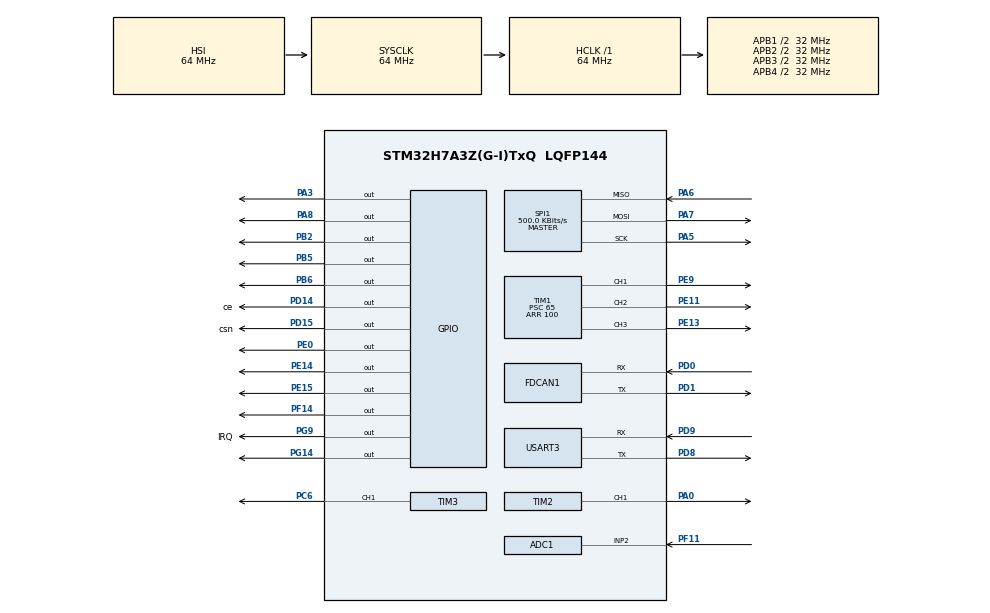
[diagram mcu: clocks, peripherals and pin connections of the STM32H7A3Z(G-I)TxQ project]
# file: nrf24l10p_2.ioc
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ADC1.Channel-1\#ChannelRegularConversion=ADC_CHANNEL_2
ADC1.NbrOfConversionFlag=1
ADC1.OffsetNumber-1\#ChannelRegularConversion=ADC_OFFSET_NONE
ADC1.OffsetSignedSaturation-1\#ChannelRegularConversion=DISABLE
ADC1.Rank-1\#ChannelRegularConversion=1
ADC1.SamplingTime-1\#ChannelRegularConversion=ADC_SAMPLETIME_1CYCLE_5
ADC1.master=1
FDCAN1.AutoRetransmission=ENABLE
FDCAN1.DataSyncJumpWidth=4
FDCAN1.DataTimeSeg1=5
FDCAN1.DataTimeSeg2=4
FDCAN1.FrameFormat=FDCAN_FRAME_FD_NO_BRS
FDCAN1.NominalTimeSeg1=5
FDCAN1.RxBuffersNbr=1
FDCAN1.RxFifo0ElmtsNbr=1
FDCAN1.StdFiltersNbr=1
Mcu.Family=STM32H7
Mcu.Name=STM32H7A3Z(G-I)TxQ
Mcu.Package=LQFP144
NVIC.FDCAN1_IT0_IRQn=true\:0\:0\:false\:false\:true\:true\:true
NVIC.PriorityGroup=NVIC_PRIORITYGROUP_4
NVIC.TIM2_IRQn=true\:0\:0\:false\:false\:true\:true\:true
PA0.Signal=S_TIM2_CH1_ETR
PA13.Mode=Serial_Wire
PA13.Signal=DEBUG_JTMS-SWDIO
PA14.Mode=Serial_Wire
PA14.Signal=DEBUG_JTCK-SWCLK
PA3.Signal=GPIO_Output
PA5.Mode=Full_Duplex_Master
PA5.Signal=SPI1_SCK
PA6.Mode=Full_Duplex_Master
PA6.Signal=SPI1_MISO
PA7.Mode=Full_Duplex_Master
PA7.Signal=SPI1_MOSI
PA8.Signal=GPIO_Output
PB2.Signal=GPIO_Output
PB5.Signal=GPIO_Output
PB6.Signal=GPIO_Output
PC6.Signal=S_TIM3_CH1
PD0.Mode=FDCAN_Activate
PD0.Signal=FDCAN1_RX
PD1.Mode=FDCAN_Activate
PD1.Signal=FDCAN1_TX
PD14.GPIO_Label=ce
PD14.GPIO_Speed=GPIO_SPEED_FREQ_LOW
PD14.Signal=GPIO_Output
PD15.GPIO_Label=csn
PD15.GPIO_Speed=GPIO_SPEED_FREQ_LOW
PD15.PinState=GPIO_PIN_RESET
PD15.Signal=GPIO_Output
PD8.Mode=Asynchronous
PD8.Signal=USART3_TX
PD9.Mode=Asynchronous
PD9.Signal=USART3_RX
PE0.Signal=GPIO_Output
PE11.Signal=S_TIM1_CH2
PE13.Signal=S_TIM1_CH3
PE14.Signal=GPIO_Output
PE15.Signal=GPIO_Output
PE9.Signal=S_TIM1_CH1
PF11.Mode=IN2-Single-Ended
PF11.Signal=ADC1_INP2
PF14.Signal=GPIO_Output
PG14.Signal=GPIO_Output
PG9.GPIO_Label=IRQ
PG9.Signal=GPIO_Output
PH0-OSC_IN.Mode=HSE-External-Oscillator
PH0-OSC_IN.Signal=RCC_OSC_IN
PH1-OSC_OUT.Mode=HSE-External-Oscillator
PH1-OSC_OUT.Signal=RCC_OSC_OUT
ProjectManager.HeapSize=0x200
ProjectManager.StackSize=0x400
ProjectManager.TargetToolchain=STM32CubeIDE
RCC.ADCFreq_Value=129000000
RCC.APB1Freq_Value=32000000
RCC.APB2Freq_Value=32000000
RCC.APB3Freq_Value=32000000
RCC.APB4Freq_Value=32000000
RCC.CDPPRE=RCC_APB3_DIV2
RCC.CDPPRE1=RCC_APB1_DIV2
RCC.CDPPRE2=RCC_APB2_DIV2
RCC.CortexFreq_Value=64000000
RCC.DIVM1=4
RCC.DIVN1=8
RCC.DIVQ1=32
RCC.HCLKFreq_Value=64000000
RCC.PLL2FRACN=0
RCC.PLL3FRACN=0
RCC.PLLFRACN=0
RCC.SRDPPRE=RCC_APB4_DIV2
RCC.SYSCLKFreq_VALUE=64000000
RCC.USBFreq_Value=4000000
SH.S_TIM1_CH1.0=TIM1_CH1,PWM Generation1 CH1
SH.S_TIM1_CH2.0=TIM1_CH2,PWM Generation2 CH2
SH.S_TIM1_CH3.0=TIM1_CH3,PWM Generation3 CH3
SH.S_TIM2_CH1_ETR.0=TIM2_CH1,PWM Generation1 CH1
SH.S_TIM3_CH1.0=TIM3_CH1,PWM Generation1 CH1
SPI1.BaudRatePrescaler=SPI_BAUDRATEPRESCALER_8
SPI1.CalculateBaudRate=500.0 KBits/s
SPI1.DataSize=SPI_DATASIZE_8BIT
SPI1.Direction=SPI_DIRECTION_2LINES
SPI1.Mode=SPI_MODE_MASTER
SPI1.VirtualType=VM_MASTER
TIM1.Channel-PWM\ Generation1\ CH1=TIM_CHANNEL_1
TIM1.Channel-PWM\ Generation2\ CH2=TIM_CHANNEL_2
TIM1.Channel-PWM\ Generation3\ CH3=TIM_CHANNEL_3
TIM1.Period=100
TIM1.Prescaler=65
TIM1.Pulse-PWM\ Generation1\ CH1=50
TIM1.Pulse-PWM\ Generation2\ CH2=50
TIM1.Pulse-PWM\ Generation3\ CH3=50
TIM2.Channel-PWM\ Generation1\ CH1=TIM_CHANNEL_1
TIM2.CounterMode=TIM_COUNTERMODE_DOWN
TIM2.Period=1000-1
TIM2.Prescaler=128-1
TIM3.Channel-PWM\ Generation1\ CH1=TIM_CHANNEL_1
TIM3.OCPolarity_1=TIM_OCPOLARITY_LOW
TIM3.Period=100
TIM3.Prescaler=64
TIM3.Pulse-PWM\ Generation1\ CH1=50
USART3.VirtualMode-Asynchronous=VM_ASYNC
VP_TIM1_VS_ClockSourceINT.Mode=Internal
VP_TIM2_VS_ClockSourceINT.Mode=Internal
VP_TIM3_VS_ClockSourceINT.Mode=Internal
board=custom

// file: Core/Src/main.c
/* USER CODE BEGIN Header */
/**
  ******************************************************************************
  * @file           : main.c
  * @brief          : Main program body
  ******************************************************************************
  * @attention
  *
  * Copyright (c) 2023 STMicroelectronics.
  * All rights reserved.
  *
  * This software is licensed under terms that can be found in the LICENSE file
  * in the root directory of this software component.
  * If no LICENSE file comes with this software, it is provided AS-IS.
  *
  ******************************************************************************
  */
/* USER CODE END Header */
#include "main.h"

/* USER CODE BEGIN Includes */
#include "NRF24L01.h"
#include "string.h"
#include <stdio.h>
#include <stdlib.h>
#include <locale.h>
#include "stm32h7xx_hal.h"
//#define ALLOWED_POSITION_OFFSET 5
//#define MAX_UTF16_CHAR_SIZE 2
/* USER CODE END Includes */

/* USER CODE BEGIN PTD */
uint16_t adc1,adc2;

/* USER CODE END PTD */

/* USER CODE BEGIN PD */
//#define TRIG_PIN GPIO_PIN_15
//#define TRIG_PORT GPIOE
/* USER CODE END PD */

ADC_HandleTypeDef hadc1;

FDCAN_HandleTypeDef hfdcan1;

SPI_HandleTypeDef hspi1;

TIM_HandleTypeDef htim1;
TIM_HandleTypeDef htim2;
TIM_HandleTypeDef htim3;

UART_HandleTypeDef huart3;

/* USER CODE BEGIN PV */
#ifdef __GNUC__
  /* With GCC, small printf (option LD Linker->Libraries->Small printf
     set to 'Yes') calls __io_putchar() */
  #define PUTCHAR_PROTOTYPE int __io_putchar(int ch)
#else
  #define PUTCHAR_PROTOTYPE int fputc(int ch, FILE *f)
#endif /* __GNUC__ */
PUTCHAR_PROTOTYPE
{
  /* Place your implementation of fputc here */
  /* e.g. write a character to the EVAL_COM1 and Loop until the end of transmission */
  HAL_UART_Transmit(&huart3, (uint8_t *)&ch, 1, 0xFFFF);
  return ch;
}
int _write(int file, unsigned char * p, int len)
{
HAL_UART_Transmit(&huart3, p, len, 10);
return len;
}
/////////////choumpa/////

/*uint32_t IC_Val1 = 0;
uint32_t IC_Val2 = 0;
uint32_t Difference = 0;
uint8_t Is_First_Captured = 0;  // is the first value captured ?
uint8_t Distance  = 0;
*/
enum notes {
  C = 956,
  D = 852,
  E = 758,
  F = 716,
  G = 638
};
/* USER CODE END PV */

void SystemClock_Config(void);
static void MX_GPIO_Init(void);
static void MX_SPI1_Init(void);
static void MX_USART3_UART_Init(void);
static void MX_TIM1_Init(void);
static void MX_FDCAN1_Init(void);
static void MX_TIM2_Init(void);
static void MX_ADC1_Init(void);
static void MX_TIM3_Init(void);
/* USER CODE BEGIN PFP */
//void delay (uint16_t time)
//{
//	__HAL_TIM_SET_COUNTER(&htim2, 0);
//	while (__HAL_TIM_GET_COUNTER (&htim2) < time);
//}

/* USER CODE END PFP */

/* USER CODE BEGIN 0 */
uint8_t RxAddress[] = {0x00,0xDD,0xCC,0xBB,0xAA};
uint8_t RxData[32];
uint8_t data[50];

FDCAN_FilterTypeDef sFilterConfig;
FDCAN_FilterTypeDef sFilterConfig1;
FDCAN_FilterTypeDef sFilterConfig2;
FDCAN_RxHeaderTypeDef RxHeader;
FDCAN_TxHeaderTypeDef TxHeader;
uint8_t TxData_Node3_To_Node1[16];
uint8_t TxData_Node3_To_Node3[16];
uint8_t RxData_From_Node3[16];
uint8_t RxData_From_Node1[16];
uint8_t RxData_From_Node4[8];

void HAL_FDCAN_RxFifo0Callback(FDCAN_HandleTypeDef *hfdcan, uint32_t RxFifo0ITs)
{
   if(FDCAN1 == hfdcan->Instance)
   {
	  if((RxFifo0ITs & FDCAN_IT_RX_FIFO0_NEW_MESSAGE) != RESET)
	  {

		if (HAL_FDCAN_GetRxMessage(hfdcan, FDCAN_RX_FIFO0, &RxHeader, RxData_From_Node3) != HAL_OK)
		{
		Error_Handler();
		}

	  }
   }

 }//choumpa jodo
void HAL_FDCAN_RxFifo1Callback(FDCAN_HandleTypeDef *hfdcan, uint32_t RxFifo1ITs)
{
   if(FDCAN1 == hfdcan->Instance)
   {
	  if((RxFifo1ITs & FDCAN_IT_RX_FIFO1_NEW_MESSAGE) != RESET)
	  {
		if (HAL_FDCAN_GetRxMessage(hfdcan, FDCAN_RX_FIFO1, &RxHeader, RxData_From_Node1) != HAL_OK)
		{
		Error_Handler();
		}

	  }
   }
 }//rider
void HAL_FDCAN_RxBufferNewMessageCallback(FDCAN_HandleTypeDef *hfdcan)
{

    if (FDCAN1 == hfdcan->Instance)
    {
        if (HAL_FDCAN_GetRxMessage(hfdcan, FDCAN_RX_BUFFER0, &RxHeader, RxData_From_Node4) != HAL_OK)
        {
            Error_Handler();
        }
    }

}//raspi

/* USER CODE END 0 */

int main(void)
{
  /* USER CODE BEGIN 1 */
//	  HAL_StatusTypeDef HAL_ADC_Start(ADC_HandleTypeDef* hadc);
//	  HAL_StatusTypeDef HAL_ADC_PollForConversion(ADC_HandleTypeDef* hadc, uint32_t Timeout);
////jodo///
  /* USER CODE END 1 */

  /* MCU Configuration--------------------------------------------------------*/

  /* Reset of all peripherals, Initializes the Flash interface and the Systick. */
  HAL_Init();

  /* Configure the system clock */
  SystemClock_Config();

  /* Initialize all configured peripherals */
  MX_GPIO_Init();
  MX_SPI1_Init();
  MX_USART3_UART_Init();
  MX_TIM1_Init();
  MX_FDCAN1_Init();
  MX_TIM2_Init();
  MX_ADC1_Init();
  MX_TIM3_Init();
  /* USER CODE BEGIN 2 */
//////////////nrf///////////
  NRF24_Init();
  NRF24_RxMode(RxAddress, 10);//nrf rx
  NRF24_ReadAll(data);//nrf rx
////////////////////////////

////////////motor///////////
  HAL_TIM_PWM_Start(&htim1, TIM_CHANNEL_1);//motor back1
  HAL_TIM_PWM_Start(&htim1, TIM_CHANNEL_2);//motor back2
  HAL_TIM_PWM_Start(&htim1, TIM_CHANNEL_3);//motor front
  HAL_GPIO_WritePin(GPIOF, GPIO_PIN_14,1);//motor enable1
  HAL_GPIO_WritePin(GPIOA, GPIO_PIN_8, 1);//motor enable2
////////////////////////////

///////////jodo///////////
    HAL_TIM_PWM_Start(&htim3, TIM_CHANNEL_1);//led jodo
//////////jodo////////////

//////////////buzzer/////////
  HAL_TIM_PWM_Start(&htim2, TIM_CHANNEL_1);
  ////////////////////////
  int a[14];
  int b[2];
//nrf고치기 ,라즈베리 받을때 nrf안받도록 수정 하기 라즈베리 r,l일때 nrf쪽 따로돌게 수정
  /* USER CODE END 2 */

  /* Infinite loop */
  while (1)
  {

    /* USER CODE BEGIN 3 */

	  for(int i=0;i<11;i++)
	  {a[i]=RxData_From_Node3[i]-'0';}

	  for(int j=0;j<3;j++)
	  {b[j]=RxData_From_Node1[j]-'0';}

	  int Distance1 = 100* a[1]  +10*a[2] +a[3];
	  int Distance2 = 100* a[4]  +10*a[5] +a[6];
	  int Distance3 = 100* a[8]  +10*a[9] +a[10];
	  int Distance4 = 100* b[0]  +10*b[1] +b[2];//rider

	  printf("    %d %d %d   ",b[0],b[1],b[2]);

///////////////////////////////

///////////////nrf//////////////
	  if (isDataAvailable(2) == 1)
	  	 {
		  NRF24_Receive(RxData);
	  	 }

///////////////////////////////////

//////////////////////buzzer/////////////////
//for (int i=0;i<5;i++){
//	  TIM2->ARR = C;
//	  TIM2->CCR1 = TIM2->ARR/2 ;
//	  HAL_Delay(500);
//	  TIM2->CCR1 = 0;
//	  HAL_Delay(100);
//	  }

	  if(Distance1<=15)
	 	  {
	 	  TIM2->ARR = C;
	 	  TIM2->CCR1 = TIM2->ARR / 2;
	 	  HAL_Delay(50);
	 	  TIM2->CCR1 = 0;
	 	  HAL_Delay(50);
	 	  }

	  if(Distance2<=15)
	 	  {
	 	  TIM2->ARR = C;
	 	  TIM2->CCR1 = TIM2->ARR / 2;
	 	  HAL_Delay(50);
	 	  TIM2->CCR1 = 0;
	 	  HAL_Delay(50);
	 	  }

	  if(Distance3<=15)
	 	  {
	 	  TIM2->ARR = C;
	 	  TIM2->CCR1 = TIM2->ARR / 2;
	 	  HAL_Delay(50);
	 	  TIM2->CCR1 = 0;
	 	  HAL_Delay(50);
	 	  }

 /////////////jodo///////////////

 for(int l=12;l<=14;l++)
 {a[l]=RxData_From_Node3[l]-'0';}
 int jodo = 100* a[12]  +10*a[13] +a[14];
      htim3.Instance->CCR1=jodo;
      if (jodo<45)
      {
    	  htim3.Instance->CCR1=0;
      }

      ////////////////////////////////////

///////////////////////////////////////////////

///////////////go and back (switch)/////////////////

//	  if(RxData[2]==0)
//		  {
//		  HAL_GPIO_WritePin(GPIOE, GPIO_PIN_14, 0);
//		  HAL_GPIO_WritePin(GPIOA, GPIO_PIN_3,0);
//		  htim1.Instance->CCR1=RxData[0];
//		  htim1.Instance->CCR2=RxData[0];
//		  if(RxData[0]>=100)
//		  	  {
//		  		  htim1.Instance->CCR1=99;
//		  		  htim1.Instance->CCR2=99;
//		  	  }
//		  }
//	  if(RxData[2]==1)
//		  {
//		  HAL_GPIO_WritePin(GPIOE, GPIO_PIN_14, 1);
//		  HAL_GPIO_WritePin(GPIOA, GPIO_PIN_3,1);
//		  htim1.Instance->CCR1=RxData[0];
//		  htim1.Instance->CCR2=RxData[0];
//		  if(RxData[0]>=100)
//		  	  {
//		  		  htim1.Instance->CCR1=99;
//		  		  htim1.Instance->CCR2=99;
//		  	  }
//		  }

/////////////////////////////////////////////////////

///////////////////////nrf networking and direction//////////////////

	if(RxData[3]==0)
	{

			  if (RxData[1]  <=40)
				  {

					  while (RxData[1]  <= 40)
					  {

						  if (isDataAvailable(2) == 1)
						  {
							  NRF24_Receive(RxData);
						  }

						  htim1.Instance->CCR3 = 80;
						  HAL_GPIO_WritePin(GPIOG, GPIO_PIN_14, 0);
						  HAL_Delay(100);
						  if(RxData[2]==0)
							  {
							  HAL_GPIO_WritePin(GPIOE, GPIO_PIN_14, 0);
							  HAL_GPIO_WritePin(GPIOA, GPIO_PIN_3,0);
							  htim1.Instance->CCR1=RxData[0];
							  htim1.Instance->CCR2=RxData[0];
							  if(RxData[0]>=100)
								  {
									  htim1.Instance->CCR1=99;
									  htim1.Instance->CCR2=99;
								  }
							  }
						  if(RxData[2]==1)
							  {
							  HAL_GPIO_WritePin(GPIOE, GPIO_PIN_14, 1);
							  HAL_GPIO_WritePin(GPIOA, GPIO_PIN_3,1);
							  htim1.Instance->CCR1=RxData[0];
							  htim1.Instance->CCR2=RxData[0];
							  if(RxData[0]>=100)
								  {
									  htim1.Instance->CCR1=99;
									  htim1.Instance->CCR2=99;
								  }
							  }

						  if(41<=RxData[1]&&RxData[1]<=80)
						  {
							  htim1.Instance->CCR3 = 90;
							  HAL_GPIO_WritePin(GPIOG, GPIO_PIN_14, 1);
							  HAL_Delay(200);
							  htim1.Instance->CCR3 = 0;
						  }

					  }

				  }

			  if (RxData[1] > 85)
					  {

						  while (RxData[1] > 85)
						  {

							  if (isDataAvailable(2) == 1)
							  {
								  NRF24_Receive(RxData);
							  }
							  htim1.Instance->CCR3 = 80;
							  HAL_GPIO_WritePin(GPIOG, GPIO_PIN_14, 1);
							  HAL_Delay(100);
							  if(RxData[2]==0)
								  {
								  HAL_GPIO_WritePin(GPIOE, GPIO_PIN_14, 0);
								  HAL_GPIO_WritePin(GPIOA, GPIO_PIN_3,0);
								  htim1.Instance->CCR1=RxData[0];
								  htim1.Instance->CCR2=RxData[0];
								  if(RxData[0]>=100)
									  {
										  htim1.Instance->CCR1=99;
										  htim1.Instance->CCR2=99;
									  }
								  }
							  if(RxData[2]==1)
								  {
								  HAL_GPIO_WritePin(GPIOE, GPIO_PIN_14, 1);
								  HAL_GPIO_WritePin(GPIOA, GPIO_PIN_3,1);
								  htim1.Instance->CCR1=RxData[0];
								  htim1.Instance->CCR2=RxData[0];
								  if(RxData[0]>=100)
									  {
										  htim1.Instance->CCR1=99;
										  htim1.Instance->CCR2=99;
									  }
								  }

							  if(41<=RxData[1]&&RxData[1]<=85)
							  {
								  htim1.Instance->CCR3 = 90;
								  HAL_GPIO_WritePin(GPIOG, GPIO_PIN_14, 0);
								  HAL_Delay(200);
								  htim1.Instance->CCR3 = 0;
							  }
						  }
					  }

	  }
////////////////////////////////////////////////////////////

///////////////go and back /////////////////

						if(RxData[2]==0)
							  {
							  HAL_GPIO_WritePin(GPIOE, GPIO_PIN_14, 0);
							  HAL_GPIO_WritePin(GPIOA, GPIO_PIN_3,0);
							  htim1.Instance->CCR1=RxData[0];
							  htim1.Instance->CCR2=RxData[0];
							  if(RxData[0]>=100)
								  {
									  htim1.Instance->CCR1=99;
									  htim1.Instance->CCR2=99;
								  }
							  //////////////ridar///////////////
							  	  if(Distance4<=20)
							  	  {
							  		  htim1.Instance->CCR1=0;
							  		  htim1.Instance->CCR2=0;
							  	  }

							  }
						  if(RxData[2]==1)
							  {
							  HAL_GPIO_WritePin(GPIOE, GPIO_PIN_14, 1);
							  HAL_GPIO_WritePin(GPIOA, GPIO_PIN_3,1);
							  htim1.Instance->CCR1=RxData[0];
							  htim1.Instance->CCR2=RxData[0];
							  if(RxData[0]>=100)
								  {
									  htim1.Instance->CCR1=99;
									  htim1.Instance->CCR2=99;
								  }
							  //////////////ridar///////////////
							  	  if(Distance4<=20)
							  	  {
							  		  htim1.Instance->CCR1=0;
							  		  htim1.Instance->CCR2=0;
							  	  }

							  }

////////////////////////////////////////////////////

/////////////////can fd raspi and direction ////////////////////
		  	  if(RxData[3]==1)
		  	  {

		  		  if (RxData_From_Node4[0]=='L')
		  				  {
		  					  while (RxData_From_Node4[0]=='L')
		  					  {

		  						  // left motor
		  						  htim1.Instance->CCR3 = 90;
		  						  HAL_GPIO_WritePin(GPIOG, GPIO_PIN_14, 0);
		  						  HAL_Delay(100);

		  						  // straight
		  						  if(RxData_From_Node4[0]=='G')
		  						  {
		  							  htim1.Instance->CCR3 = 90;
		  							  HAL_GPIO_WritePin(GPIOG, GPIO_PIN_14, 1);
		  							  HAL_Delay(200);
		  							  htim1.Instance->CCR3 = 0;
		  						  }
		  						  if (40<=RxData[1]&&RxData[1]<=80)
		  						  {
		  							  break;
		  						  }

		  					  }

		  				  }

		  			  if (RxData_From_Node4[0]=='R')
		  					  {

		  						  while (RxData_From_Node4[0]=='R')
		  						  {

		  							  // right motor
		  							  htim1.Instance->CCR3 = 90;
		  							  HAL_GPIO_WritePin(GPIOG, GPIO_PIN_14, 1);
		  							  HAL_Delay(100);

		  							  if(RxData_From_Node4[0]=='G')
		  							  {
		  								  htim1.Instance->CCR3 = 90;
		  								  HAL_GPIO_WritePin(GPIOG, GPIO_PIN_14, 0);
		  								  HAL_Delay(200);
		  								  htim1.Instance->CCR3 = 0;
		  							  }
		  							  if (40<=RxData[1]&&RxData[1]<=80)
		  							  {
		  								  break;
		  							  }

		  						  }

		  					  }

		  	  }
///////////////////////////////////////////////////////////////////

	}

  /* USER CODE END 3 */
}

void SystemClock_Config(void)
{
  RCC_OscInitTypeDef RCC_OscInitStruct = {0};
  RCC_ClkInitTypeDef RCC_ClkInitStruct = {0};

  /** Supply configuration update enable
  */
  HAL_PWREx_ConfigSupply(PWR_DIRECT_SMPS_SUPPLY);
  /** Configure the main internal regulator output voltage
  */
  __HAL_PWR_VOLTAGESCALING_CONFIG(PWR_REGULATOR_VOLTAGE_SCALE3);

  while(!__HAL_PWR_GET_FLAG(PWR_FLAG_VOSRDY)) {}
  /** Macro to configure the PLL clock source
  */
  __HAL_RCC_PLL_PLLSOURCE_CONFIG(RCC_PLLSOURCE_HSI);
  /** Initializes the RCC Oscillators according to the specified parameters
  * in the RCC_OscInitTypeDef structure.
  */
  RCC_OscInitStruct.OscillatorType = RCC_OSCILLATORTYPE_HSI;
  RCC_OscInitStruct.HSIState = RCC_HSI_DIV1;
  RCC_OscInitStruct.HSICalibrationValue = RCC_HSICALIBRATION_DEFAULT;
  RCC_OscInitStruct.PLL.PLLState = RCC_PLL_ON;
  RCC_OscInitStruct.PLL.PLLSource = RCC_PLLSOURCE_HSI;
  RCC_OscInitStruct.PLL.PLLM = 4;
  RCC_OscInitStruct.PLL.PLLN = 8;
  RCC_OscInitStruct.PLL.PLLP = 2;
  RCC_OscInitStruct.PLL.PLLQ = 32;
  RCC_OscInitStruct.PLL.PLLR = 2;
  RCC_OscInitStruct.PLL.PLLRGE = RCC_PLL1VCIRANGE_3;
  RCC_OscInitStruct.PLL.PLLVCOSEL = RCC_PLL1VCOWIDE;
  RCC_OscInitStruct.PLL.PLLFRACN = 0;
  if (HAL_RCC_OscConfig(&RCC_OscInitStruct) != HAL_OK)
  {
    Error_Handler();
  }
  /** Initializes the CPU, AHB and APB buses clocks
  */
  RCC_ClkInitStruct.ClockType = RCC_CLOCKTYPE_HCLK|RCC_CLOCKTYPE_SYSCLK
                              |RCC_CLOCKTYPE_PCLK1|RCC_CLOCKTYPE_PCLK2
                              |RCC_CLOCKTYPE_D3PCLK1|RCC_CLOCKTYPE_D1PCLK1;
  RCC_ClkInitStruct.SYSCLKSource = RCC_SYSCLKSOURCE_HSI;
  RCC_ClkInitStruct.SYSCLKDivider = RCC_SYSCLK_DIV1;
  RCC_ClkInitStruct.AHBCLKDivider = RCC_HCLK_DIV1;
  RCC_ClkInitStruct.APB3CLKDivider = RCC_APB3_DIV2;
  RCC_ClkInitStruct.APB1CLKDivider = RCC_APB1_DIV2;
  RCC_ClkInitStruct.APB2CLKDivider = RCC_APB2_DIV2;
  RCC_ClkInitStruct.APB4CLKDivider = RCC_APB4_DIV2;

  if (HAL_RCC_ClockConfig(&RCC_ClkInitStruct, FLASH_LATENCY_2) != HAL_OK)
  {
    Error_Handler();
  }
}

static void MX_ADC1_Init(void)
{

  ADC_MultiModeTypeDef multimode = {0};
  ADC_ChannelConfTypeDef sConfig = {0};

  /** Common config
  */
  hadc1.Instance = ADC1;
  hadc1.Init.ClockPrescaler = ADC_CLOCK_ASYNC_DIV1;
  hadc1.Init.Resolution = ADC_RESOLUTION_16B;
  hadc1.Init.ScanConvMode = ADC_SCAN_DISABLE;
  hadc1.Init.EOCSelection = ADC_EOC_SINGLE_CONV;
  hadc1.Init.LowPowerAutoWait = DISABLE;
  hadc1.Init.ContinuousConvMode = DISABLE;
  hadc1.Init.NbrOfConversion = 1;
  hadc1.Init.DiscontinuousConvMode = DISABLE;
  hadc1.Init.ExternalTrigConv = ADC_SOFTWARE_START;
  hadc1.Init.ExternalTrigConvEdge = ADC_EXTERNALTRIGCONVEDGE_NONE;
  hadc1.Init.ConversionDataManagement = ADC_CONVERSIONDATA_DR;
  hadc1.Init.Overrun = ADC_OVR_DATA_PRESERVED;
  hadc1.Init.LeftBitShift = ADC_LEFTBITSHIFT_NONE;
  hadc1.Init.OversamplingMode = DISABLE;
  if (HAL_ADC_Init(&hadc1) != HAL_OK)
  {
    Error_Handler();
  }
  /** Configure the ADC multi-mode
  */
  multimode.Mode = ADC_MODE_INDEPENDENT;
  if (HAL_ADCEx_MultiModeConfigChannel(&hadc1, &multimode) != HAL_OK)
  {
    Error_Handler();
  }
  /** Configure Regular Channel
  */
  sConfig.Channel = ADC_CHANNEL_2;
  sConfig.Rank = ADC_REGULAR_RANK_1;
  sConfig.SamplingTime = ADC_SAMPLETIME_1CYCLE_5;
  sConfig.SingleDiff = ADC_SINGLE_ENDED;
  sConfig.OffsetNumber = ADC_OFFSET_NONE;
  sConfig.Offset = 0;
  sConfig.OffsetSignedSaturation = DISABLE;
  if (HAL_ADC_ConfigChannel(&hadc1, &sConfig) != HAL_OK)
  {
    Error_Handler();
  }

}

static void MX_FDCAN1_Init(void)
{

  hfdcan1.Instance = FDCAN1;
  hfdcan1.Init.FrameFormat = FDCAN_FRAME_FD_NO_BRS;
  hfdcan1.Init.Mode = FDCAN_MODE_NORMAL;
  hfdcan1.Init.AutoRetransmission = ENABLE;
  hfdcan1.Init.TransmitPause = DISABLE;
  hfdcan1.Init.ProtocolException = DISABLE;
  hfdcan1.Init.NominalPrescaler = 1;
  hfdcan1.Init.NominalSyncJumpWidth = 1;
  hfdcan1.Init.NominalTimeSeg1 = 5;
  hfdcan1.Init.NominalTimeSeg2 = 2;
  hfdcan1.Init.DataPrescaler = 1;
  hfdcan1.Init.DataSyncJumpWidth = 4;
  hfdcan1.Init.DataTimeSeg1 = 5;
  hfdcan1.Init.DataTimeSeg2 = 4;
  hfdcan1.Init.MessageRAMOffset = 0;
  hfdcan1.Init.StdFiltersNbr = 3;
  hfdcan1.Init.ExtFiltersNbr = 0;
  hfdcan1.Init.RxFifo0ElmtsNbr = 1;
  hfdcan1.Init.RxFifo0ElmtSize = FDCAN_DATA_BYTES_16;
  hfdcan1.Init.RxFifo1ElmtsNbr = 1;
  hfdcan1.Init.RxFifo1ElmtSize = FDCAN_DATA_BYTES_16;
  hfdcan1.Init.RxBuffersNbr = 1;
  hfdcan1.Init.RxBufferSize = FDCAN_DATA_BYTES_16;
  hfdcan1.Init.TxEventsNbr = 0;
  hfdcan1.Init.TxBuffersNbr = 0;
  hfdcan1.Init.TxFifoQueueElmtsNbr = 0;
  hfdcan1.Init.TxFifoQueueMode = FDCAN_TX_FIFO_OPERATION;
  hfdcan1.Init.TxElmtSize = FDCAN_DATA_BYTES_16;
  if (HAL_FDCAN_Init(&hfdcan1) != HAL_OK)
  {
    Error_Handler();
  }
  /* USER CODE BEGIN FDCAN1_Init 2 */
  	  	sFilterConfig.IdType = FDCAN_STANDARD_ID;
        sFilterConfig.FilterIndex = 1;
        sFilterConfig.RxBufferIndex = 1;
        sFilterConfig.FilterType = FDCAN_FILTER_DUAL; // Ignore because FDCAN_FILTER_TO_RXBUFFE
        sFilterConfig.FilterConfig = FDCAN_FILTER_TO_RXFIFO0;
        sFilterConfig.FilterID1 = 0x33; // ID Node2
        sFilterConfig.FilterID2 = 0x7ff; // Ignore because FDCAN_FILTER_TO_RXBUFFER
        if(HAL_FDCAN_ConfigFilter(&hfdcan1, &sFilterConfig) != HAL_OK)
               {
                  Error_Handler();
               }
//
  	  	sFilterConfig1.IdType = FDCAN_STANDARD_ID;
        sFilterConfig1.FilterIndex = 2;
        sFilterConfig1.RxBufferIndex = 2;
        sFilterConfig1.FilterType = FDCAN_FILTER_DUAL; // Ignore because FDCAN_FILTER_TO_RXBUFFE
        sFilterConfig1.FilterConfig = FDCAN_FILTER_TO_RXFIFO1;
        sFilterConfig1.FilterID1 = 0x11; // ID Node2
        sFilterConfig1.FilterID2 = 0x7ff; // Ignore because FDCAN_FILTER_TO_RXBUFFER
//
        if(HAL_FDCAN_ConfigFilter(&hfdcan1, &sFilterConfig1) != HAL_OK)
        {
           Error_Handler();
        }
  	  	sFilterConfig2.IdType = FDCAN_STANDARD_ID;
        sFilterConfig2.FilterIndex = 0;
        sFilterConfig2.RxBufferIndex = 0;
        sFilterConfig2.FilterType = FDCAN_FILTER_DUAL; // Ignore because FDCAN_FILTER_TO_RXBUFFE
        sFilterConfig2.FilterConfig = FDCAN_FILTER_TO_RXBUFFER;
        sFilterConfig2.FilterID1 = 0x44; // ID Node2
        sFilterConfig2.FilterID2 = 0x7ff; // Ignore because FDCAN_FILTER_TO_RXBUFFER

        if(HAL_FDCAN_ConfigFilter(&hfdcan1, &sFilterConfig2) != HAL_OK)
               {
                  Error_Handler();
               }

        if(HAL_FDCAN_Start(&hfdcan1) != HAL_OK)
              {
                Error_Handler();
              }

        if (HAL_FDCAN_ActivateNotification(&hfdcan1, FDCAN_IT_RX_BUFFER_NEW_MESSAGE, 0) != HAL_OK)
          {
            /* Notification Error */
            Error_Handler();
          }
            if (HAL_FDCAN_ActivateNotification(&hfdcan1, FDCAN_IT_RX_FIFO0_NEW_MESSAGE, 0) != HAL_OK)
              {
                Error_Handler();
              }
            if (HAL_FDCAN_ActivateNotification(&hfdcan1, FDCAN_IT_RX_FIFO1_NEW_MESSAGE, 0) != HAL_OK)
              {
                Error_Handler();
              }

            TxHeader.Identifier = 0x22;
            TxHeader.IdType = FDCAN_STANDARD_ID;
            TxHeader.TxFrameType = FDCAN_DATA_FRAME;
            TxHeader.DataLength = FDCAN_DLC_BYTES_8;
            TxHeader.ErrorStateIndicator = FDCAN_ESI_ACTIVE;
            TxHeader.BitRateSwitch = FDCAN_BRS_OFF;
            TxHeader.FDFormat = FDCAN_FD_CAN;
            TxHeader.TxEventFifoControl = FDCAN_NO_TX_EVENTS;
            TxHeader.MessageMarker = 0x0;

  /* USER CODE END FDCAN1_Init 2 */

}

static void MX_SPI1_Init(void)
{

  /* SPI1 parameter configuration*/
  hspi1.Instance = SPI1;
  hspi1.Init.Mode = SPI_MODE_MASTER;
  hspi1.Init.Direction = SPI_DIRECTION_2LINES;
  hspi1.Init.DataSize = SPI_DATASIZE_8BIT;
  hspi1.Init.CLKPolarity = SPI_POLARITY_LOW;
  hspi1.Init.CLKPhase = SPI_PHASE_1EDGE;
  hspi1.Init.NSS = SPI_NSS_SOFT;
  hspi1.Init.BaudRatePrescaler = SPI_BAUDRATEPRESCALER_8;
  hspi1.Init.FirstBit = SPI_FIRSTBIT_MSB;
  hspi1.Init.TIMode = SPI_TIMODE_DISABLE;
  hspi1.Init.CRCCalculation = SPI_CRCCALCULATION_DISABLE;
  hspi1.Init.CRCPolynomial = 0x0;
  hspi1.Init.NSSPMode = SPI_NSS_PULSE_ENABLE;
  hspi1.Init.NSSPolarity = SPI_NSS_POLARITY_LOW;
  hspi1.Init.FifoThreshold = SPI_FIFO_THRESHOLD_01DATA;
  hspi1.Init.TxCRCInitializationPattern = SPI_CRC_INITIALIZATION_ALL_ZERO_PATTERN;
  hspi1.Init.RxCRCInitializationPattern = SPI_CRC_INITIALIZATION_ALL_ZERO_PATTERN;
  hspi1.Init.MasterSSIdleness = SPI_MASTER_SS_IDLENESS_00CYCLE;
  hspi1.Init.MasterInterDataIdleness = SPI_MASTER_INTERDATA_IDLENESS_00CYCLE;
  hspi1.Init.MasterReceiverAutoSusp = SPI_MASTER_RX_AUTOSUSP_DISABLE;
  hspi1.Init.MasterKeepIOState = SPI_MASTER_KEEP_IO_STATE_DISABLE;
  hspi1.Init.IOSwap = SPI_IO_SWAP_DISABLE;
  if (HAL_SPI_Init(&hspi1) != HAL_OK)
  {
    Error_Handler();
  }

}

static void MX_TIM1_Init(void)
{

  TIM_ClockConfigTypeDef sClockSourceConfig = {0};
  TIM_MasterConfigTypeDef sMasterConfig = {0};
  TIM_OC_InitTypeDef sConfigOC = {0};
  TIM_BreakDeadTimeConfigTypeDef sBreakDeadTimeConfig = {0};

  htim1.Instance = TIM1;
  htim1.Init.Prescaler = 65;
  htim1.Init.CounterMode = TIM_COUNTERMODE_UP;
  htim1.Init.Period = 100;
  htim1.Init.ClockDivision = TIM_CLOCKDIVISION_DIV1;
  htim1.Init.RepetitionCounter = 0;
  htim1.Init.AutoReloadPreload = TIM_AUTORELOAD_PRELOAD_DISABLE;
  if (HAL_TIM_Base_Init(&htim1) != HAL_OK)
  {
    Error_Handler();
  }
  sClockSourceConfig.ClockSource = TIM_CLOCKSOURCE_INTERNAL;
  if (HAL_TIM_ConfigClockSource(&htim1, &sClockSourceConfig) != HAL_OK)
  {
    Error_Handler();
  }
  if (HAL_TIM_PWM_Init(&htim1) != HAL_OK)
  {
    Error_Handler();
  }
  sMasterConfig.MasterOutputTrigger = TIM_TRGO_RESET;
  sMasterConfig.MasterOutputTrigger2 = TIM_TRGO2_RESET;
  sMasterConfig.MasterSlaveMode = TIM_MASTERSLAVEMODE_DISABLE;
  if (HAL_TIMEx_MasterConfigSynchronization(&htim1, &sMasterConfig) != HAL_OK)
  {
    Error_Handler();
  }
  sConfigOC.OCMode = TIM_OCMODE_PWM1;
  sConfigOC.Pulse = 50;
  sConfigOC.OCPolarity = TIM_OCPOLARITY_HIGH;
  sConfigOC.OCNPolarity = TIM_OCNPOLARITY_HIGH;
  sConfigOC.OCFastMode = TIM_OCFAST_DISABLE;
  sConfigOC.OCIdleState = TIM_OCIDLESTATE_RESET;
  sConfigOC.OCNIdleState = TIM_OCNIDLESTATE_RESET;
  if (HAL_TIM_PWM_ConfigChannel(&htim1, &sConfigOC, TIM_CHANNEL_1) != HAL_OK)
  {
    Error_Handler();
  }
  if (HAL_TIM_PWM_ConfigChannel(&htim1, &sConfigOC, TIM_CHANNEL_2) != HAL_OK)
  {
    Error_Handler();
  }
  if (HAL_TIM_PWM_ConfigChannel(&htim1, &sConfigOC, TIM_CHANNEL_3) != HAL_OK)
  {
    Error_Handler();
  }
  sBreakDeadTimeConfig.OffStateRunMode = TIM_OSSR_DISABLE;
  sBreakDeadTimeConfig.OffStateIDLEMode = TIM_OSSI_DISABLE;
  sBreakDeadTimeConfig.LockLevel = TIM_LOCKLEVEL_OFF;
  sBreakDeadTimeConfig.DeadTime = 0;
  sBreakDeadTimeConfig.BreakState = TIM_BREAK_DISABLE;
  sBreakDeadTimeConfig.BreakPolarity = TIM_BREAKPOLARITY_HIGH;
  sBreakDeadTimeConfig.BreakFilter = 0;
  sBreakDeadTimeConfig.Break2State = TIM_BREAK2_DISABLE;
  sBreakDeadTimeConfig.Break2Polarity = TIM_BREAK2POLARITY_HIGH;
  sBreakDeadTimeConfig.Break2Filter = 0;
  sBreakDeadTimeConfig.AutomaticOutput = TIM_AUTOMATICOUTPUT_DISABLE;
  if (HAL_TIMEx_ConfigBreakDeadTime(&htim1, &sBreakDeadTimeConfig) != HAL_OK)
  {
    Error_Handler();
  }
  HAL_TIM_MspPostInit(&htim1);

}

static void MX_TIM2_Init(void)
{

  TIM_ClockConfigTypeDef sClockSourceConfig = {0};
  TIM_MasterConfigTypeDef sMasterConfig = {0};
  TIM_OC_InitTypeDef sConfigOC = {0};

  htim2.Instance = TIM2;
  htim2.Init.Prescaler = 128-1;
  htim2.Init.CounterMode = TIM_COUNTERMODE_DOWN;
  htim2.Init.Period = 1000-1;
  htim2.Init.ClockDivision = TIM_CLOCKDIVISION_DIV1;
  htim2.Init.AutoReloadPreload = TIM_AUTORELOAD_PRELOAD_DISABLE;
  if (HAL_TIM_Base_Init(&htim2) != HAL_OK)
  {
    Error_Handler();
  }
  sClockSourceConfig.ClockSource = TIM_CLOCKSOURCE_INTERNAL;
  if (HAL_TIM_ConfigClockSource(&htim2, &sClockSourceConfig) != HAL_OK)
  {
    Error_Handler();
  }
  if (HAL_TIM_PWM_Init(&htim2) != HAL_OK)
  {
    Error_Handler();
  }
  sMasterConfig.MasterOutputTrigger = TIM_TRGO_RESET;
  sMasterConfig.MasterSlaveMode = TIM_MASTERSLAVEMODE_DISABLE;
  if (HAL_TIMEx_MasterConfigSynchronization(&htim2, &sMasterConfig) != HAL_OK)
  {
    Error_Handler();
  }
  sConfigOC.OCMode = TIM_OCMODE_PWM1;
  sConfigOC.Pulse = 0;
  sConfigOC.OCPolarity = TIM_OCPOLARITY_HIGH;
  sConfigOC.OCFastMode = TIM_OCFAST_DISABLE;
  if (HAL_TIM_PWM_ConfigChannel(&htim2, &sConfigOC, TIM_CHANNEL_1) != HAL_OK)
  {
    Error_Handler();
  }
  HAL_TIM_MspPostInit(&htim2);

}

static void MX_TIM3_Init(void)
{

  TIM_ClockConfigTypeDef sClockSourceConfig = {0};
  TIM_MasterConfigTypeDef sMasterConfig = {0};
  TIM_OC_InitTypeDef sConfigOC = {0};

  htim3.Instance = TIM3;
  htim3.Init.Prescaler = 64;
  htim3.Init.CounterMode = TIM_COUNTERMODE_UP;
  htim3.Init.Period = 100;
  htim3.Init.ClockDivision = TIM_CLOCKDIVISION_DIV1;
  htim3.Init.AutoReloadPreload = TIM_AUTORELOAD_PRELOAD_DISABLE;
  if (HAL_TIM_Base_Init(&htim3) != HAL_OK)
  {
    Error_Handler();
  }
  sClockSourceConfig.ClockSource = TIM_CLOCKSOURCE_INTERNAL;
  if (HAL_TIM_ConfigClockSource(&htim3, &sClockSourceConfig) != HAL_OK)
  {
    Error_Handler();
  }
  if (HAL_TIM_PWM_Init(&htim3) != HAL_OK)
  {
    Error_Handler();
  }
  sMasterConfig.MasterOutputTrigger = TIM_TRGO_RESET;
  sMasterConfig.MasterSlaveMode = TIM_MASTERSLAVEMODE_DISABLE;
  if (HAL_TIMEx_MasterConfigSynchronization(&htim3, &sMasterConfig) != HAL_OK)
  {
    Error_Handler();
  }
  sConfigOC.OCMode = TIM_OCMODE_PWM1;
  sConfigOC.Pulse = 50;
  sConfigOC.OCPolarity = TIM_OCPOLARITY_HIGH;
  sConfigOC.OCFastMode = TIM_OCFAST_DISABLE;
  if (HAL_TIM_PWM_ConfigChannel(&htim3, &sConfigOC, TIM_CHANNEL_1) != HAL_OK)
  {
    Error_Handler();
  }
  HAL_TIM_MspPostInit(&htim3);

}

static void MX_USART3_UART_Init(void)
{

  huart3.Instance = USART3;
  huart3.Init.BaudRate = 115200;
  huart3.Init.WordLength = UART_WORDLENGTH_8B;
  huart3.Init.StopBits = UART_STOPBITS_1;
  huart3.Init.Parity = UART_PARITY_NONE;
  huart3.Init.Mode = UART_MODE_TX_RX;
  huart3.Init.HwFlowCtl = UART_HWCONTROL_NONE;
  huart3.Init.OverSampling = UART_OVERSAMPLING_16;
  huart3.Init.OneBitSampling = UART_ONE_BIT_SAMPLE_DISABLE;
  huart3.Init.ClockPrescaler = UART_PRESCALER_DIV1;
  huart3.AdvancedInit.AdvFeatureInit = UART_ADVFEATURE_NO_INIT;
  if (HAL_UART_Init(&huart3) != HAL_OK)
  {
    Error_Handler();
  }
  if (HAL_UARTEx_SetTxFifoThreshold(&huart3, UART_TXFIFO_THRESHOLD_1_8) != HAL_OK)
  {
    Error_Handler();
  }
  if (HAL_UARTEx_SetRxFifoThreshold(&huart3, UART_RXFIFO_THRESHOLD_1_8) != HAL_OK)
  {
    Error_Handler();
  }
  if (HAL_UARTEx_DisableFifoMode(&huart3) != HAL_OK)
  {
    Error_Handler();
  }

}

static void MX_GPIO_Init(void)
{
  GPIO_InitTypeDef GPIO_InitStruct = {0};

  /* GPIO Ports Clock Enable */
  __HAL_RCC_GPIOH_CLK_ENABLE();
  __HAL_RCC_GPIOA_CLK_ENABLE();
  __HAL_RCC_GPIOB_CLK_ENABLE();
  __HAL_RCC_GPIOF_CLK_ENABLE();
  __HAL_RCC_GPIOE_CLK_ENABLE();
  __HAL_RCC_GPIOD_CLK_ENABLE();
  __HAL_RCC_GPIOC_CLK_ENABLE();
  __HAL_RCC_GPIOG_CLK_ENABLE();

  /*Configure GPIO pin Output Level */
  HAL_GPIO_WritePin(GPIOA, GPIO_PIN_3|GPIO_PIN_8, GPIO_PIN_RESET);

  /*Configure GPIO pin Output Level */
  HAL_GPIO_WritePin(GPIOB, GPIO_PIN_2|GPIO_PIN_5|GPIO_PIN_6, GPIO_PIN_RESET);

  /*Configure GPIO pin Output Level */
  HAL_GPIO_WritePin(GPIOF, GPIO_PIN_14, GPIO_PIN_RESET);

  /*Configure GPIO pin Output Level */
  HAL_GPIO_WritePin(GPIOE, GPIO_PIN_14|GPIO_PIN_15|GPIO_PIN_0, GPIO_PIN_RESET);

  /*Configure GPIO pin Output Level */
  HAL_GPIO_WritePin(GPIOD, ce_Pin|csn_Pin, GPIO_PIN_RESET);

  /*Configure GPIO pin Output Level */
  HAL_GPIO_WritePin(GPIOG, IRQ_Pin|GPIO_PIN_14, GPIO_PIN_RESET);

  /*Configure GPIO pins : PA3 PA8 */
  GPIO_InitStruct.Pin = GPIO_PIN_3|GPIO_PIN_8;
  GPIO_InitStruct.Mode = GPIO_MODE_OUTPUT_PP;
  GPIO_InitStruct.Pull = GPIO_NOPULL;
  GPIO_InitStruct.Speed = GPIO_SPEED_FREQ_LOW;
  HAL_GPIO_Init(GPIOA, &GPIO_InitStruct);

  /*Configure GPIO pins : PB2 PB5 PB6 */
  GPIO_InitStruct.Pin = GPIO_PIN_2|GPIO_PIN_5|GPIO_PIN_6;
  GPIO_InitStruct.Mode = GPIO_MODE_OUTPUT_PP;
  GPIO_InitStruct.Pull = GPIO_NOPULL;
  GPIO_InitStruct.Speed = GPIO_SPEED_FREQ_LOW;
  HAL_GPIO_Init(GPIOB, &GPIO_InitStruct);

  /*Configure GPIO pin : PF14 */
  GPIO_InitStruct.Pin = GPIO_PIN_14;
  GPIO_InitStruct.Mode = GPIO_MODE_OUTPUT_PP;
  GPIO_InitStruct.Pull = GPIO_NOPULL;
  GPIO_InitStruct.Speed = GPIO_SPEED_FREQ_LOW;
  HAL_GPIO_Init(GPIOF, &GPIO_InitStruct);

  /*Configure GPIO pins : PE14 PE15 PE0 */
  GPIO_InitStruct.Pin = GPIO_PIN_14|GPIO_PIN_15|GPIO_PIN_0;
  GPIO_InitStruct.Mode = GPIO_MODE_OUTPUT_PP;
  GPIO_InitStruct.Pull = GPIO_NOPULL;
  GPIO_InitStruct.Speed = GPIO_SPEED_FREQ_LOW;
  HAL_GPIO_Init(GPIOE, &GPIO_InitStruct);

  /*Configure GPIO pins : ce_Pin csn_Pin */
  GPIO_InitStruct.Pin = ce_Pin|csn_Pin;
  GPIO_InitStruct.Mode = GPIO_MODE_OUTPUT_PP;
  GPIO_InitStruct.Pull = GPIO_NOPULL;
  GPIO_InitStruct.Speed = GPIO_SPEED_FREQ_LOW;
  HAL_GPIO_Init(GPIOD, &GPIO_InitStruct);

  /*Configure GPIO pins : IRQ_Pin PG14 */
  GPIO_InitStruct.Pin = IRQ_Pin|GPIO_PIN_14;
  GPIO_InitStruct.Mode = GPIO_MODE_OUTPUT_PP;
  GPIO_InitStruct.Pull = GPIO_NOPULL;
  GPIO_InitStruct.Speed = GPIO_SPEED_FREQ_LOW;
  HAL_GPIO_Init(GPIOG, &GPIO_InitStruct);

}

void Error_Handler(void)
{
  __disable_irq();
  while (1)
  {
  }
}
